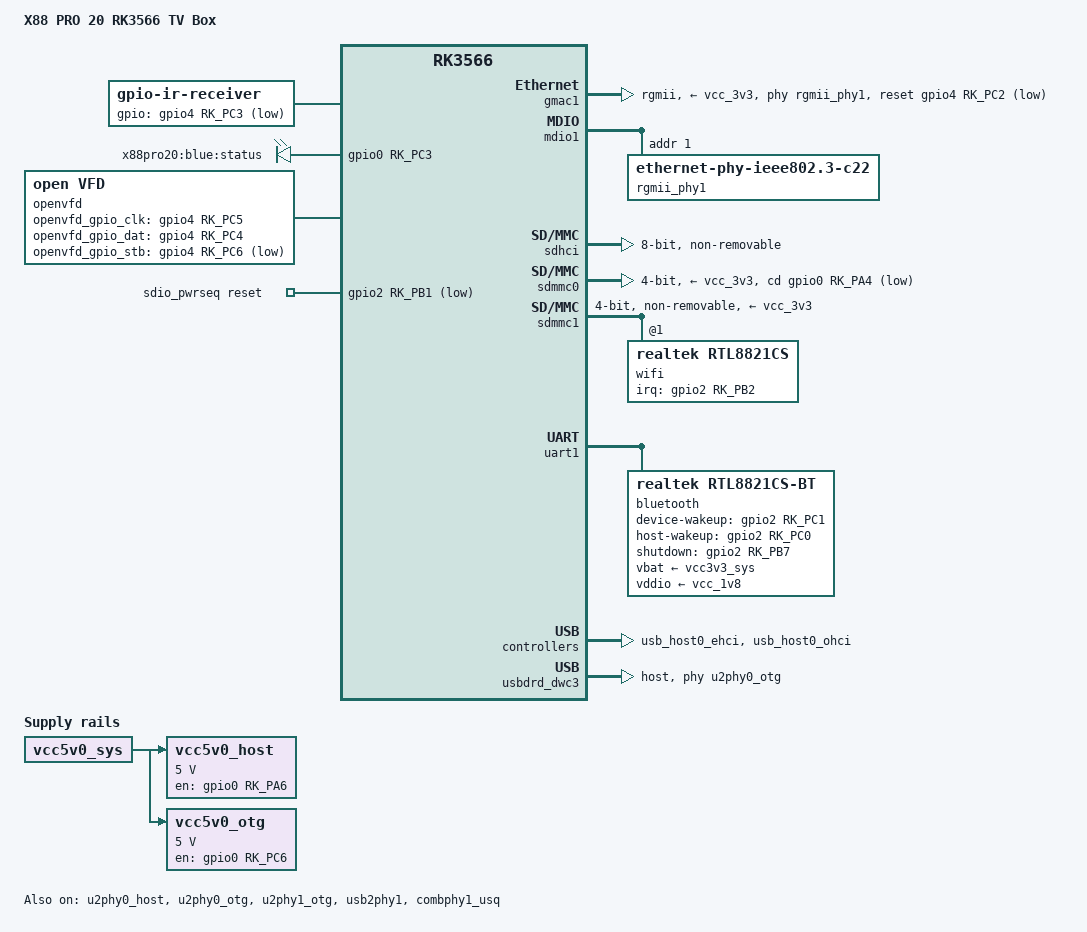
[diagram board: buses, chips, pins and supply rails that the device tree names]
// SPDX-License-Identifier: (GPL-2.0+ OR MIT)
/*
 * Device Tree Source for the X88 PRO 20 TV Box / X88PRO-RK3566-4D32-V2.1 / RUPA TV Box (Rockchip RK3566)
 *
 * Reconstructed and adapted from the vendor Android DTB for use with
 * the Rockchip 6.1 vendor kernel and Armbian specifically for NPU/RKNN support.
 *
 * Hardware working:
 *   - SoC: RK3566
 *   - GPU: Mali-G52
 *   - NPU: RKNPU (1 TOPS)
 *   - Ethernet: Gigabit Ethernet
 *   - Memory: 4 GiB DDR4
 *
 * Copyright (C) 2026 Evgenii Abdrazakov
 */

/dts-v1/;

#include "rk3566-box.dtsi"

/ {
	model = "X88 PRO 20 RK3566 TV Box";
	compatible = "x88pro20,rk3566-box", "rockchip,rk3566";

	aliases {
		ethernet0 = &gmac1;
		mmc0 = &sdmmc0;
		mmc1 = &sdmmc1;
		mmc2 = &sdhci;
	};

	chosen {
		stdout-path = "serial2:1500000n8";
	};

	ir-receiver {
		compatible = "gpio-ir-receiver";
		gpios = <&gpio4 RK_PC3 GPIO_ACTIVE_LOW>;
		linux,rc-map-name = "rc-beelink-gs1";
		pinctrl-names = "default";
		pinctrl-0 = <&ir_receiver_pin>;
		status = "okay";
	};

	leds {
		compatible = "gpio-leds";

		led-0 {
			label = "x88pro20:blue:status";
			gpios = <&gpio0 RK_PC3 GPIO_ACTIVE_HIGH>;
			linux,default-trigger = "heartbeat";
			pinctrl-names = "default";
			pinctrl-0 = <&led_status_enable_h>;
		};
	};

	openvfd {
		compatible = "open,vfd";
		dev_name = "openvfd";
		openvfd_chars = [04 00 01 02 03];
		openvfd_display_type = <0x00010002>;
		openvfd_dot_bits = [00 01 02 03 04 05 06];
		openvfd_gpio_clk = <&gpio4 RK_PC5 GPIO_ACTIVE_HIGH>;
		openvfd_gpio_dat = <&gpio4 RK_PC4 GPIO_ACTIVE_HIGH>;
		openvfd_gpio_stb = <&gpio4 RK_PC6 GPIO_ACTIVE_LOW>;
		status = "okay";
	};

	sdio_pwrseq: sdio-pwrseq {
		compatible = "mmc-pwrseq-simple";
		clocks = <&pmucru CLK_RTC_32K>;
		clock-names = "ext_clock";
		pinctrl-names = "default";
		pinctrl-0 = <&wifi_enable_h &wifi_32k>;
		reset-gpios = <&gpio2 RK_PB1 GPIO_ACTIVE_LOW>;
		status = "okay";
	};

	vcc5v0_host: vcc5v0-host-regulator {
		compatible = "regulator-fixed";
		enable-active-high;
		gpio = <&gpio0 RK_PA6 GPIO_ACTIVE_HIGH>;
		pinctrl-names = "default";
		pinctrl-0 = <&vcc5v0_host_en>;
		regulator-name = "vcc5v0_host";
		regulator-min-microvolt = <5000000>;
		regulator-max-microvolt = <5000000>;
		vin-supply = <&vcc5v0_sys>;
	};

	vcc5v0_otg: vcc5v0-otg-regulator {
		compatible = "regulator-fixed";
		enable-active-high;
		gpio = <&gpio0 RK_PC6 GPIO_ACTIVE_HIGH>;
		pinctrl-names = "default";
		pinctrl-0 = <&vcc5v0_otg_en>;
		regulator-name = "vcc5v0_otg";
		regulator-min-microvolt = <5000000>;
		regulator-max-microvolt = <5000000>;
		vin-supply = <&vcc5v0_sys>;
	};
};

&gmac1 {
	phy-mode = "rgmii";
	clock_in_out = "input";
	phy-supply = <&vcc_3v3>;

	assigned-clocks = <&cru SCLK_GMAC1_RX_TX>,
			  <&cru SCLK_GMAC1>;
	assigned-clock-parents = <&cru SCLK_GMAC1_RGMII_SPEED>,
				 <&gmac1_clkin>;

	pinctrl-names = "default";
	pinctrl-0 = <&gmac1m1_miim
		     &gmac1m1_tx_bus2
		     &gmac1m1_rx_bus2
		     &gmac1m1_rgmii_clk
		     &gmac1m1_rgmii_bus
		     &gmac1m1_clkinout>;

	snps,reset-gpio = <&gpio4 RK_PC2 GPIO_ACTIVE_LOW>;
	snps,reset-active-low;
	snps,reset-delays-us = <0 20000 100000>;

	tx_delay = <0x4f>;
	rx_delay = <0x2d>;

	phy-handle = <&rgmii_phy1>;
	status = "okay";
};

&mdio1 {
	rgmii_phy1: ethernet-phy@1 {
		compatible = "ethernet-phy-ieee802.3-c22";
		reg = <1>;
	};
};

&pmu_io_domains {
	pmuio2-supply = <&vcc_3v3>;
	vccio1-supply = <&vcc_3v3>;
	vccio3-supply = <&vcc_3v3>;
	vccio4-supply = <&vcc_1v8>;
	vccio5-supply = <&vcc_3v3>;
	vccio6-supply = <&vcc_1v8>;
	vccio7-supply = <&vcc_3v3>;
	status = "okay";
};

&rknpu {
	/delete-property/ memory-region;
};

&rknpu_mmu {
	status = "okay";
};

&sdhci {
	bus-width = <8>;
	max-frequency = <200000000>;
	mmc-hs200-1_8v;
	no-sd;
	no-sdio;
	non-removable;
	status = "okay";
};

&sdmmc0 {
	bus-width = <4>;
	cap-sd-highspeed;
	cd-gpios = <&gpio0 RK_PA4 GPIO_ACTIVE_LOW>;
	disable-wp;
	max-frequency = <150000000>;
	no-mmc;
	no-sdio;
	pinctrl-names = "default";
	pinctrl-0 = <&sdmmc0_bus4
		     &sdmmc0_clk
		     &sdmmc0_cmd>;
	vmmc-supply = <&vcc_3v3>;
	status = "okay";
};

&sdmmc1 {
	#address-cells = <1>;
	#size-cells = <0>;

	bus-width = <4>;
	cap-sd-highspeed;
	cap-sdio-irq;
	keep-power-in-suspend;
	max-frequency = <150000000>;
	mmc-pwrseq = <&sdio_pwrseq>;
	non-removable;
	pinctrl-names = "default";
	pinctrl-0 = <&sdmmc1_bus4 &sdmmc1_cmd &sdmmc1_clk>;
	sd-uhs-sdr104;
	vmmc-supply = <&vcc_3v3>;
	vqmmc-supply = <&vcc_1v8>;
	status = "okay";

	wifi@1 {
		compatible = "realtek,rtl8821cs";
		reg = <1>;
		interrupt-parent = <&gpio2>;
		interrupts = <RK_PB2 IRQ_TYPE_LEVEL_HIGH>;
		interrupt-names = "host-wake";
		pinctrl-names = "default";
		pinctrl-0 = <&wifi_host_wake_irq>;
	};
};

&uart1 {
	dma-names = "tx", "rx";
	pinctrl-names = "default";
	pinctrl-0 = <&uart1m0_xfer &uart1m0_ctsn &uart1m0_rtsn>;
	uart-has-rtscts;
	status = "okay";

	bluetooth {
		compatible = "realtek,rtl8821cs-bt";
		clocks = <&pmucru CLK_RTC_32K>;
		clock-names = "txco";
		device-wakeup-gpios = <&gpio2 RK_PC1 GPIO_ACTIVE_HIGH>;
		host-wakeup-gpios = <&gpio2 RK_PC0 GPIO_ACTIVE_HIGH>;
		shutdown-gpios = <&gpio2 RK_PB7 GPIO_ACTIVE_HIGH>;
		pinctrl-names = "default";
		pinctrl-0 = <&bt_host_wake_l &bt_wake_l &bt_enable_h>;
		vbat-supply = <&vcc3v3_sys>;
		vddio-supply = <&vcc_1v8>;
	};
};

&u2phy0_host {
	phy-supply = <&vcc5v0_host>;
	status = "okay";
};

&u2phy0_otg {
	phy-supply = <&vcc5v0_otg>;
	status = "okay";
};

&u2phy1_host {
	phy-supply = <&vcc5v0_host>;
	status = "disabled";
};

&u2phy1_otg {
	phy-supply = <&vcc5v0_host>;
	status = "okay";
};

&usb2phy1 {
	status = "okay";
};

&usb_host0_ehci {
	status = "okay";
};

&usb_host0_ohci {
	status = "okay";
};

&usb_host1_ehci {
	status = "disabled";
};

&usb_host1_ohci {
	status = "disabled";
};

&usbdrd_dwc3 {
	dr_mode = "host";
	phys = <&u2phy0_otg>;
	phy-names = "usb2-phy";
	maximum-speed = "high-speed";
	snps,dis_u2_susphy_quirk;
	status = "okay";
};

&combphy1_usq {
	assigned-clocks = <&pmucru CLK_PCIEPHY1_REF>;
	assigned-clock-rates = <100000000>;
	status = "okay";
};

&pinctrl {
	bt {
		bt_enable_h: bt-enable-h {
			rockchip,pins = <2 RK_PB7 RK_FUNC_GPIO &pcfg_pull_none>;
		};

		bt_host_wake_l: bt-host-wake-l {
			rockchip,pins = <2 RK_PC0 RK_FUNC_GPIO &pcfg_pull_down>;
		};

		bt_wake_l: bt-wake-l {
			rockchip,pins = <2 RK_PC1 RK_FUNC_GPIO &pcfg_pull_none>;
		};
	};

	ir-receiver {
		ir_receiver_pin: ir-receiver-pin {
			rockchip,pins = <4 RK_PC3 RK_FUNC_GPIO &pcfg_pull_none>;
		};
	};

	leds {
		led_status_enable_h: led-status-enable-h {
			rockchip,pins = <0 RK_PC3 RK_FUNC_GPIO &pcfg_pull_none>;
		};
	};

	sdio-pwrseq {
		wifi_enable_h: wifi-enable-h {
			rockchip,pins = <2 RK_PB1 RK_FUNC_GPIO &pcfg_pull_none>;
		};

		wifi_32k: wifi-32k {
			rockchip,pins = <2 RK_PC6 1 &pcfg_pull_none>;
		};

		wifi_host_wake_irq: wifi-host-wake-irq {
			rockchip,pins = <2 RK_PB2 RK_FUNC_GPIO &pcfg_pull_none>;
		};
	};

	usb {
		vcc5v0_host_en: vcc5v0-host-en {
			rockchip,pins = <0 RK_PA6 RK_FUNC_GPIO &pcfg_pull_none>;
		};

		vcc5v0_otg_en: vcc5v0-otg-en {
			rockchip,pins = <0 RK_PC6 RK_FUNC_GPIO &pcfg_pull_none>;
		};
	};
};
